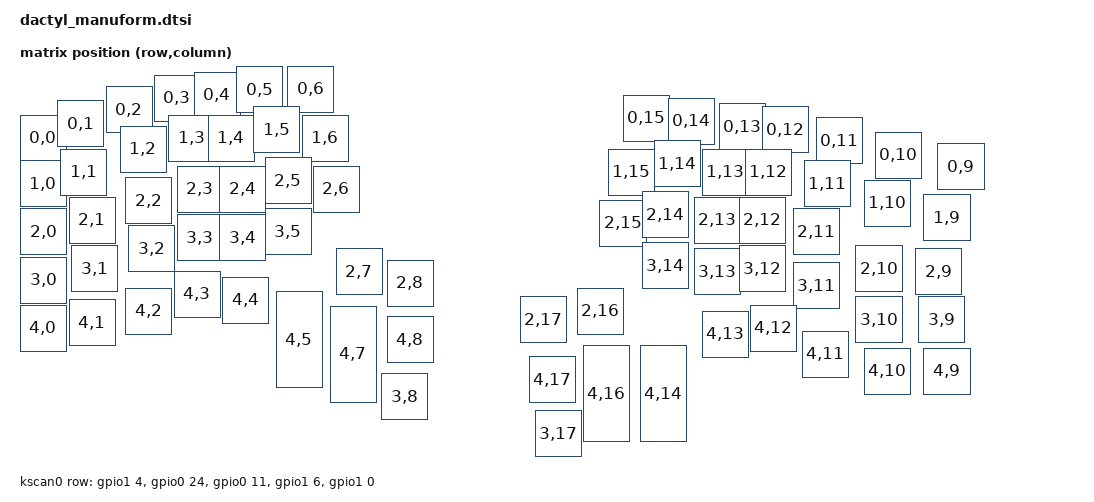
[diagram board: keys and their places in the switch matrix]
#include <dt-bindings/zmk/matrix_transform.h>
#include <physical_layouts.dtsi>

/ {
    chosen {
        zmk,kscan = &kscan0;
        zmk,physical-layout = &default_layout;
    };

    default_transform: keymap_transform_0 {
        compatible = "zmk,matrix-transform";
        columns = <18>;
        rows = <5>;


map = <
RC(0,0) RC(0,1) RC(0,2) RC(0,3) RC(0,4) RC(0,5) RC(0,6)                                             RC(0,15) RC(0,14) RC(0,13) RC(0,12) RC(0,11)  RC(0,10)  RC(0,9) 
RC(1,0) RC(1,1) RC(1,2) RC(1,3) RC(1,4) RC(1,5) RC(1,6)                                             RC(1,15) RC(1,14) RC(1,13) RC(1,12) RC(1,11)  RC(1,10)  RC(1,9)
RC(2,0) RC(2,1) RC(2,2) RC(2,3) RC(2,4) RC(2,5) RC(2,6) RC(2,7)  RC(2,8)          RC(2,17) RC(2,16) RC(2,15) RC(2,14) RC(2,13) RC(2,12) RC(2,11)  RC(2,10)  RC(2,9)
RC(3,0) RC(3,1) RC(3,2) RC(3,3) RC(3,4) RC(3,5)                  RC(3,8)          RC(3,17)                   RC(3,14) RC(3,13) RC(3,12) RC(3,11)  RC(3,10)  RC(3,9)
RC(4,0) RC(4,1) RC(4,2) RC(4,3) RC(4,4)         RC(4,5)  RC(4,7) RC(4,8)          RC(4,17) RC(4,16) RC(4,14)          RC(4,13) RC(4,12) RC(4,11)  RC(4,10)  RC(4,9)
                                                                
        >;
    };

    default_layout: default_layout {
        compatible = "zmk,physical-layout";
        display-name = "Dactyl Manuform";
        transform = <&default_transform>;
        kscan = <&kscan0>;
        keys  // w h x y rot rx ry in 1/100 key units, same order as default_transform; measured from a photo of the board
            = <&key_physical_attrs 100 100 0 98 0 0 0>  // RC(0,0)
            , <&key_physical_attrs 100 100 75 69 0 0 0>  // RC(0,1)
            , <&key_physical_attrs 100 100 172 41 0 0 0>  // RC(0,2)
            , <&key_physical_attrs 100 100 268 18 0 0 0>  // RC(0,3)
            , <&key_physical_attrs 100 100 348 12 0 0 0>  // RC(0,4)
            , <&key_physical_attrs 100 100 433 1 0 0 0>  // RC(0,5)
            , <&key_physical_attrs 100 100 535 0 0 0 0>  // RC(0,6)
            , <&key_physical_attrs 100 100 1206 58 0 0 0>  // RC(0,15)
            , <&key_physical_attrs 100 100 1297 64 0 0 0>  // RC(0,14)
            , <&key_physical_attrs 100 100 1399 75 0 0 0>  // RC(0,13)
            , <&key_physical_attrs 100 100 1484 81 0 0 0>  // RC(0,12)
            , <&key_physical_attrs 100 100 1592 103 0 0 0>  // RC(0,11)
            , <&key_physical_attrs 100 100 1711 132 0 0 0>  // RC(0,10)
            , <&key_physical_attrs 100 100 1836 155 0 0 0>  // RC(0,9)
            , <&key_physical_attrs 100 100 0 189 0 0 0>  // RC(1,0)
            , <&key_physical_attrs 100 100 81 166 0 0 0>  // RC(1,1)
            , <&key_physical_attrs 100 100 200 120 0 0 0>  // RC(1,2)
            , <&key_physical_attrs 100 100 297 98 0 0 0>  // RC(1,3)
            , <&key_physical_attrs 100 100 376 98 0 0 0>  // RC(1,4)
            , <&key_physical_attrs 100 100 467 81 0 0 0>  // RC(1,5)
            , <&key_physical_attrs 100 100 564 98 0 0 0>  // RC(1,6)
            , <&key_physical_attrs 100 100 1177 166 0 0 0>  // RC(1,15)
            , <&key_physical_attrs 100 100 1268 149 0 0 0>  // RC(1,14)
            , <&key_physical_attrs 100 100 1365 166 0 0 0>  // RC(1,13)
            , <&key_physical_attrs 100 100 1450 166 0 0 0>  // RC(1,12)
            , <&key_physical_attrs 100 100 1569 189 0 0 0>  // RC(1,11)
            , <&key_physical_attrs 100 100 1689 228 0 0 0>  // RC(1,10)
            , <&key_physical_attrs 100 100 1808 257 0 0 0>  // RC(1,9)
            , <&key_physical_attrs 100 100 1 285 0 0 0>  // RC(2,0)
            , <&key_physical_attrs 100 100 98 262 0 0 0>  // RC(2,1)
            , <&key_physical_attrs 100 100 211 223 0 0 0>  // RC(2,2)
            , <&key_physical_attrs 100 100 314 200 0 0 0>  // RC(2,3)
            , <&key_physical_attrs 100 100 399 200 0 0 0>  // RC(2,4)
            , <&key_physical_attrs 100 100 490 183 0 0 0>  // RC(2,5)
            , <&key_physical_attrs 100 100 586 200 0 0 0>  // RC(2,6)
            , <&key_physical_attrs 100 100 632 365 0 0 0>  // RC(2,7)
            , <&key_physical_attrs 100 100 734 388 0 0 0>  // RC(2,8)
            , <&key_physical_attrs 100 100 1001 461 0 0 0>  // RC(2,17)
            , <&key_physical_attrs 100 100 1115 444 0 0 0>  // RC(2,16)
            , <&key_physical_attrs 100 100 1160 268 0 0 0>  // RC(2,15)
            , <&key_physical_attrs 100 100 1245 251 0 0 0>  // RC(2,14)
            , <&key_physical_attrs 100 100 1348 262 0 0 0>  // RC(2,13)
            , <&key_physical_attrs 100 100 1439 262 0 0 0>  // RC(2,12)
            , <&key_physical_attrs 100 100 1547 285 0 0 0>  // RC(2,11)
            , <&key_physical_attrs 100 100 1672 359 0 0 0>  // RC(2,10)
            , <&key_physical_attrs 100 100 1791 365 0 0 0>  // RC(2,9)
            , <&key_physical_attrs 100 100 1 382 0 0 0>  // RC(3,0)
            , <&key_physical_attrs 100 100 103 359 0 0 0>  // RC(3,1)
            , <&key_physical_attrs 100 100 217 319 0 0 0>  // RC(3,2)
            , <&key_physical_attrs 100 100 314 297 0 0 0>  // RC(3,3)
            , <&key_physical_attrs 100 100 399 297 0 0 0>  // RC(3,4)
            , <&key_physical_attrs 100 100 490 285 0 0 0>  // RC(3,5)
            , <&key_physical_attrs 100 100 723 615 0 0 0>  // RC(3,8)
            , <&key_physical_attrs 100 100 1030 689 0 0 0>  // RC(3,17)
            , <&key_physical_attrs 100 100 1245 353 0 0 0>  // RC(3,14)
            , <&key_physical_attrs 100 100 1348 365 0 0 0>  // RC(3,13)
            , <&key_physical_attrs 100 100 1439 359 0 0 0>  // RC(3,12)
            , <&key_physical_attrs 100 100 1547 393 0 0 0>  // RC(3,11)
            , <&key_physical_attrs 100 100 1672 461 0 0 0>  // RC(3,10)
            , <&key_physical_attrs 100 100 1797 461 0 0 0>  // RC(3,9)
            , <&key_physical_attrs 100 100 0 478 0 0 0>  // RC(4,0)
            , <&key_physical_attrs 100 100 98 467 0 0 0>  // RC(4,1)
            , <&key_physical_attrs 100 100 211 444 0 0 0>  // RC(4,2)
            , <&key_physical_attrs 100 100 308 410 0 0 0>  // RC(4,3)
            , <&key_physical_attrs 100 100 405 422 0 0 0>  // RC(4,4)
            , <&key_physical_attrs 100 200 512 451 0 0 0>  // RC(4,5)
            , <&key_physical_attrs 100 200 620 480 0 0 0>  // RC(4,7)
            , <&key_physical_attrs 100 100 734 501 0 0 0>  // RC(4,8)
            , <&key_physical_attrs 100 100 1018 581 0 0 0>  // RC(4,17)
            , <&key_physical_attrs 100 200 1126 559 0 0 0>  // RC(4,16)
            , <&key_physical_attrs 100 200 1240 559 0 0 0>  // RC(4,14)
            , <&key_physical_attrs 100 100 1365 490 0 0 0>  // RC(4,13)
            , <&key_physical_attrs 100 100 1461 478 0 0 0>  // RC(4,12)
            , <&key_physical_attrs 100 100 1564 530 0 0 0>  // RC(4,11)
            , <&key_physical_attrs 100 100 1689 564 0 0 0>  // RC(4,10)
            , <&key_physical_attrs 100 100 1808 564 0 0 0>  // RC(4,9)
            ;
    };

    kscan0: kscan {
        compatible = "zmk,kscan-gpio-matrix";
        label = "KSCAN";

        diode-direction = "col2row";
        row-gpios
            = <&gpio1 4  (GPIO_ACTIVE_HIGH | GPIO_PULL_DOWN)> // Row 0 from the schematic file
            , <&gpio0 24 (GPIO_ACTIVE_HIGH | GPIO_PULL_DOWN)> // Row 1 from the schematic file
            , <&gpio0 11 (GPIO_ACTIVE_HIGH | GPIO_PULL_DOWN)> // Row 2 from the schematic file
            , <&gpio1 6 (GPIO_ACTIVE_HIGH | GPIO_PULL_DOWN)> // Row 3 from the schematic file
            , <&gpio1 0 (GPIO_ACTIVE_HIGH | GPIO_PULL_DOWN)> // Row 4 from the schematic file
            ;

    };
};
